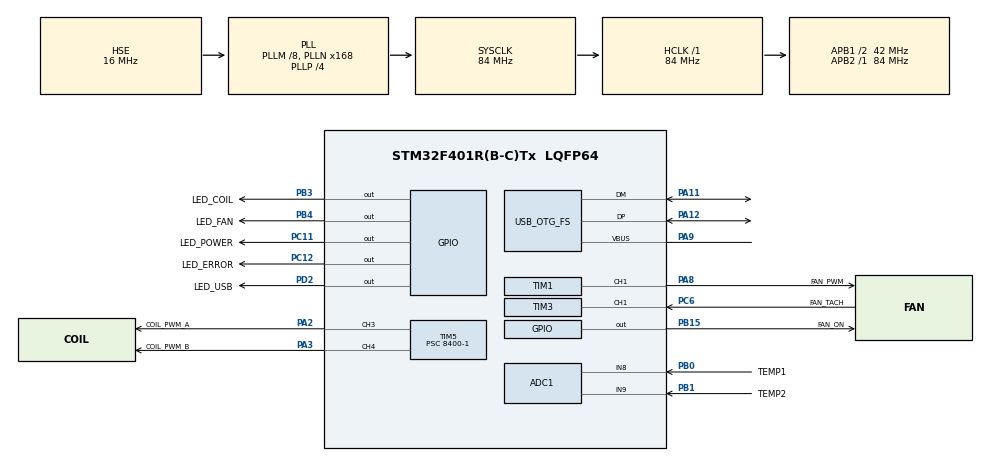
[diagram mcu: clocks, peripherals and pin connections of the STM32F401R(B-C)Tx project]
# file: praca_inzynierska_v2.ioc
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ADC1.Channel-1\#ChannelRegularConversion=ADC_CHANNEL_8
ADC1.Channel-2\#ChannelRegularConversion=ADC_CHANNEL_9
ADC1.ClockPrescaler=ADC_CLOCK_SYNC_PCLK_DIV8
ADC1.ContinuousConvMode=ENABLE
ADC1.DMAContinuousRequests=ENABLE
ADC1.NbrOfConversion=2
ADC1.NbrOfConversionFlag=1
ADC1.Rank-1\#ChannelRegularConversion=1
ADC1.Rank-2\#ChannelRegularConversion=2
ADC1.SamplingTime-1\#ChannelRegularConversion=ADC_SAMPLETIME_480CYCLES
ADC1.SamplingTime-2\#ChannelRegularConversion=ADC_SAMPLETIME_480CYCLES
ADC1.master=1
Dma.ADC1.0.Direction=DMA_PERIPH_TO_MEMORY
Dma.ADC1.0.FIFOMode=DMA_FIFOMODE_DISABLE
Dma.ADC1.0.Instance=DMA2_Stream0
Dma.ADC1.0.MemDataAlignment=DMA_MDATAALIGN_HALFWORD
Dma.ADC1.0.MemInc=DMA_MINC_ENABLE
Dma.ADC1.0.Mode=DMA_CIRCULAR
Dma.ADC1.0.PeriphDataAlignment=DMA_PDATAALIGN_HALFWORD
Dma.ADC1.0.PeriphInc=DMA_PINC_DISABLE
Dma.ADC1.0.Priority=DMA_PRIORITY_LOW
Dma.Request0=ADC1
Mcu.Family=STM32F4
Mcu.Name=STM32F401R(B-C)Tx
Mcu.Package=LQFP64
NVIC.DMA2_Stream0_IRQn=true\:0\:0\:false\:false\:true\:false\:true\:true
NVIC.OTG_FS_IRQn=true\:0\:0\:false\:false\:true\:false\:true\:true
NVIC.PriorityGroup=NVIC_PRIORITYGROUP_4
NVIC.TIM1_BRK_TIM9_IRQn=true\:0\:0\:false\:false\:true\:true\:true\:true
NVIC.TIM3_IRQn=true\:0\:0\:false\:false\:true\:true\:true\:true
NVIC.TIM4_IRQn=true\:0\:0\:false\:false\:true\:true\:true\:true
PA11.Mode=Device_Only
PA11.Signal=USB_OTG_FS_DM
PA12.Mode=Device_Only
PA12.Signal=USB_OTG_FS_DP
PA13.Mode=Serial_Wire
PA13.Signal=SYS_JTMS-SWDIO
PA14.Mode=Serial_Wire
PA14.Signal=SYS_JTCK-SWCLK
PA2.GPIO_Label=COIL_PWM_A
PA2.GPIO_Speed=GPIO_SPEED_FREQ_HIGH
PA2.Signal=S_TIM5_CH3
PA3.GPIO_Label=COIL_PWM_B
PA3.GPIO_Speed=GPIO_SPEED_FREQ_HIGH
PA3.Signal=S_TIM5_CH4
PA8.GPIO_Label=FAN_PWM
PA8.Signal=S_TIM1_CH1
PA9.Mode=Activate_VBUS
PA9.Signal=USB_OTG_FS_VBUS
PB0.GPIO_Label=TEMP1
PB0.Signal=ADCx_IN8
PB1.GPIO_Label=TEMP2
PB1.Signal=ADCx_IN9
PB15.GPIO_Label=FAN_ON
PB15.GPIO_PuPd=GPIO_NOPULL
PB15.Signal=GPIO_Output
PB3.GPIO_Label=LED_COIL
PB3.Signal=GPIO_Output
PB4.GPIO_Label=LED_FAN
PB4.Signal=GPIO_Output
PC11.GPIO_Label=LED_POWER
PC11.Signal=GPIO_Output
PC12.GPIO_Label=LED_ERROR
PC12.Signal=GPIO_Output
PC6.GPIO_Label=FAN_TACH
PC6.Signal=S_TIM3_CH1
PD2.GPIO_Label=LED_USB
PD2.Signal=GPIO_Output
PH0\ -\ OSC_IN.Mode=HSE-External-Oscillator
PH0\ -\ OSC_IN.Signal=RCC_OSC_IN
PH1\ -\ OSC_OUT.Mode=HSE-External-Oscillator
PH1\ -\ OSC_OUT.Signal=RCC_OSC_OUT
ProjectManager.HeapSize=0x200
ProjectManager.StackSize=0x400
ProjectManager.TargetToolchain=STM32CubeIDE
RCC.48MHZClocksFreq_Value=48000000
RCC.AHBFreq_Value=84000000
RCC.APB1CLKDivider=RCC_HCLK_DIV2
RCC.APB1Freq_Value=42000000
RCC.APB1TimFreq_Value=84000000
RCC.APB2Freq_Value=84000000
RCC.APB2TimFreq_Value=84000000
RCC.CortexFreq_Value=84000000
RCC.HCLKFreq_Value=84000000
RCC.HSE_VALUE=16000000
RCC.HSI_VALUE=16000000
RCC.LSE_VALUE=32768
RCC.PLLM=8
RCC.PLLN=168
RCC.PLLP=RCC_PLLP_DIV4
RCC.PLLQ=7
RCC.SYSCLKFreq_VALUE=84000000
RCC.SYSCLKSource=RCC_SYSCLKSOURCE_PLLCLK
RCC.VCOOutputFreq_Value=336000000
SH.ADCx_IN8.0=ADC1_IN8,IN8
SH.ADCx_IN9.0=ADC1_IN9,IN9
SH.S_TIM1_CH1.0=TIM1_CH1,PWM Generation1 CH1
SH.S_TIM3_CH1.0=TIM3_CH1,PWM_Input_1
SH.S_TIM5_CH3.0=TIM5_CH3,PWM Generation3 CH3
SH.S_TIM5_CH4.0=TIM5_CH4,PWM Generation4 CH4
TIM1.Channel-PWM\ Generation1\ CH1=TIM_CHANNEL_1
TIM1.Period=1680-1
TIM1.Prescaler=2-1
TIM3.Period=65535
TIM3.Prescaler=42000-1
TIM4.Period=1000-1
TIM4.Prescaler=840-1
TIM5.Channel-PWM\ Generation3\ CH3=TIM_CHANNEL_3
TIM5.Channel-PWM\ Generation4\ CH4=TIM_CHANNEL_4
TIM5.OCMode_PWM-PWM\ Generation3\ CH3=TIM_OCMODE_PWM1
TIM5.Period=1000-1
TIM5.Prescaler=8400-1
TIM9.Period=10000-1
TIM9.Prescaler=840-1
USB_DEVICE.CLASS_NAME_FS=CDC
USB_DEVICE.MANUFACTURER_STRING=SzymonHrehorowicz
USB_DEVICE.PRODUCT_STRING_CDC_FS=SPC
USB_DEVICE.VirtualMode=Cdc
USB_DEVICE.VirtualModeFS=Cdc_FS
USB_OTG_FS.VirtualMode=Device_Only
VP_TIM1_VS_ClockSourceINT.Mode=Internal
VP_TIM3_VS_ClockSourceINT.Mode=Internal
VP_TIM4_VS_ClockSourceINT.Mode=Internal
VP_TIM5_VS_ClockSourceINT.Mode=Internal
VP_TIM9_VS_ClockSourceINT.Mode=Internal
VP_USB_DEVICE_VS_USB_DEVICE_CDC_FS.Mode=CDC_FS
board=custom

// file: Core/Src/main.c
/* USER CODE BEGIN Header */
/**
 ******************************************************************************
 * @file           : main.c
 * @brief          : Main program body
 ******************************************************************************
 * @attention
 *
 * Copyright (c) 2024 STMicroelectronics.
 * All rights reserved.
 *
 * This software is licensed under terms that can be found in the LICENSE file
 * in the root directory of this software component.
 * If no LICENSE file comes with this software, it is provided AS-IS.
 *
 ******************************************************************************
 */
/* USER CODE END Header */
#include "main.h"
#include "adc.h"
#include "dma.h"
#include "tim.h"
#include "usb_device.h"
#include "gpio.h"

/* USER CODE BEGIN Includes */
#include "control/fan_controller.h"
#include "control/coil_controller.h"
#include "control/combined_controller.h"
#include "control/control_reference.h"
#include "communication.h"
/* USER CODE END Includes */

void SystemClock_Config(void);

int main(void)
{

  /* MCU Configuration--------------------------------------------------------*/

  /* Reset of all peripherals, Initializes the Flash interface and the Systick. */
  HAL_Init();

  /* Configure the system clock */
  SystemClock_Config();

  /* Initialize all configured peripherals */
  MX_GPIO_Init();
  MX_DMA_Init();
  MX_TIM3_Init();
  MX_ADC1_Init();
  MX_USB_DEVICE_Init();
  MX_TIM1_Init();
  MX_TIM5_Init();
  MX_TIM4_Init();
  MX_TIM9_Init();
  /* USER CODE BEGIN 2 */
    // Controllers init
    FanController_init(&fanController);
    CoilController_init(&coilController);
    CombinedController_init(&combinedController, &fanController, &coilController);
    // Tachometer timer initialization
    HAL_TIM_IC_Start_IT(&htim3, TIM_CHANNEL_1);
    HAL_TIM_IC_Start(&htim3, TIM_CHANNEL_2);
    // PWM controllers initialization
    HAL_TIM_PWM_Start(&htim1, TIM_CHANNEL_1); // Fan PWM
    HAL_TIM_PWM_Start(&htim5, TIM_CHANNEL_3); // Coil A PWM
    HAL_TIM_PWM_Start(&htim5, TIM_CHANNEL_4); // Coil B PWM
    // Periodic interrupt
    HAL_TIM_Base_Start_IT(&htim4);
    // Temperature measurement
    HAL_ADC_Start_DMA(&hadc1, coilController.raw_voltages, NUMBER_OF_THERMISTORS);
  /* USER CODE END 2 */

  /* Infinite loop */
  /* USER CODE BEGIN WHILE */
    HAL_GPIO_WritePin(LED_POWER_GPIO_Port, LED_POWER_Pin, GPIO_PIN_SET);
    ControlReference_init(&fanController.control_reference, &coilController.control_reference);

    while (1)
    {
        COM_checkConnection();
    /* USER CODE END WHILE */

    }
}

void SystemClock_Config(void)
{
  RCC_OscInitTypeDef RCC_OscInitStruct = {0};
  RCC_ClkInitTypeDef RCC_ClkInitStruct = {0};

  /** Configure the main internal regulator output voltage
  */
  __HAL_RCC_PWR_CLK_ENABLE();
  __HAL_PWR_VOLTAGESCALING_CONFIG(PWR_REGULATOR_VOLTAGE_SCALE2);

  /** Initializes the RCC Oscillators according to the specified parameters
  * in the RCC_OscInitTypeDef structure.
  */
  RCC_OscInitStruct.OscillatorType = RCC_OSCILLATORTYPE_HSE;
  RCC_OscInitStruct.HSEState = RCC_HSE_ON;
  RCC_OscInitStruct.PLL.PLLState = RCC_PLL_ON;
  RCC_OscInitStruct.PLL.PLLSource = RCC_PLLSOURCE_HSE;
  RCC_OscInitStruct.PLL.PLLM = 8;
  RCC_OscInitStruct.PLL.PLLN = 168;
  RCC_OscInitStruct.PLL.PLLP = RCC_PLLP_DIV4;
  RCC_OscInitStruct.PLL.PLLQ = 7;
  if (HAL_RCC_OscConfig(&RCC_OscInitStruct) != HAL_OK)
  {
    Error_Handler();
  }

  /** Initializes the CPU, AHB and APB buses clocks
  */
  RCC_ClkInitStruct.ClockType = RCC_CLOCKTYPE_HCLK|RCC_CLOCKTYPE_SYSCLK
                              |RCC_CLOCKTYPE_PCLK1|RCC_CLOCKTYPE_PCLK2;
  RCC_ClkInitStruct.SYSCLKSource = RCC_SYSCLKSOURCE_PLLCLK;
  RCC_ClkInitStruct.AHBCLKDivider = RCC_SYSCLK_DIV1;
  RCC_ClkInitStruct.APB1CLKDivider = RCC_HCLK_DIV2;
  RCC_ClkInitStruct.APB2CLKDivider = RCC_HCLK_DIV1;

  if (HAL_RCC_ClockConfig(&RCC_ClkInitStruct, FLASH_LATENCY_2) != HAL_OK)
  {
    Error_Handler();
  }
}

void Error_Handler(void)
{
  /* USER CODE BEGIN Error_Handler_Debug */
    HAL_GPIO_WritePin(LED_POWER_GPIO_Port, LED_POWER_Pin, GPIO_PIN_RESET);
    HAL_GPIO_WritePin(LED_ERROR_GPIO_Port, LED_ERROR_Pin, GPIO_PIN_SET);
    /* User can add his own implementation to report the HAL error return state */
    __disable_irq();
    while (1)
    {
    }
  /* USER CODE END Error_Handler_Debug */
}
